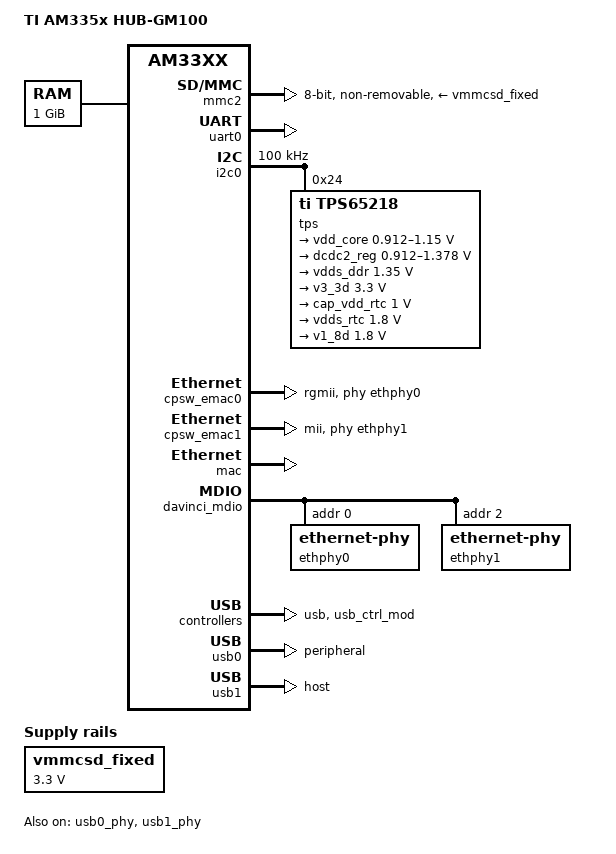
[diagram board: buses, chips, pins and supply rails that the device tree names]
// SPDX-License-Identifier: GPL-2.0-only
/*
 * Copyright 2018-2021 in.hub GmbH
 */

/dts-v1/;

#include "am33xx.dtsi"

/ {
	model = "TI AM335x HUB-GM100";
	compatible = "ti,am335x-duoSol-I-xCom1", "ti,am335x-gm100", "ti,am33xx";

	cpus {
		cpu@0 {
			cpu0-supply = <&dcdc2_reg>;
		};
	};

	memory {
		device_type = "memory";
		reg = <0x80000000 0x40000000>;
	};

	chosen {
		stdout-path = &uart0;
		tick-timer = &timer2;
	};

	vmmcsd_fixed: fixedregulator@0 {
		compatible = "regulator-fixed";
		regulator-name = "vmmcsd_fixed";
		regulator-min-microvolt = <3300000>;
		regulator-max-microvolt = <3300000>;
		regulator-boot-on;
	};

};

&mmc2 {
	u-boot,dm-pre-reloc;
	vmmc-supply = <&vmmcsd_fixed>;
	pinctrl-names = "default";
	pinctrl-0 = <&emmc_pins>;
	bus-width = <8>;
	non-removable;
	status = "okay";
};

&am33xx_pinmux {
	u-boot,dm-pre-reloc;
	pinctrl-names = "default";

	i2c0_pins: pinmux_i2c0_pins {
		pinctrl-single,pins = <
			0x188 (PIN_INPUT_PULLUP | MUX_MODE0)	/* i2c0_sda.i2c0_sda */
			0x18c (PIN_INPUT_PULLUP | MUX_MODE0)	/* i2c0_scl.i2c0_scl */
		>;
	};

	uart0_pins: pinmux_uart0_pins {
		pinctrl-single,pins = <
			0x170 (PIN_INPUT_PULLUP | MUX_MODE0)	/* uart0_rxd.uart0_rxd */
			0x174 (PIN_OUTPUT_PULLDOWN | MUX_MODE0)	/* uart0_txd.uart0_txd */
		>;
	};

	emmc_pins: pinmux_emmc_pins {
		pinctrl-single,pins = <
			0x80 (PIN_INPUT_PULLUP | MUX_MODE2) /* gpmc_csn1.mmc1_clk */
			0x84 (PIN_INPUT_PULLUP | MUX_MODE2) /* gpmc_csn2.mmc1_cmd */
			0x00 (PIN_INPUT_PULLUP | MUX_MODE1) /* gpmc_ad0.mmc1_dat0 */
			0x04 (PIN_INPUT_PULLUP | MUX_MODE1) /* gpmc_ad1.mmc1_dat1 */
			0x08 (PIN_INPUT_PULLUP | MUX_MODE1) /* gpmc_ad2.mmc1_dat2 */
			0x0c (PIN_INPUT_PULLUP | MUX_MODE1) /* gpmc_ad3.mmc1_dat3 */
			0x10 (PIN_INPUT_PULLUP | MUX_MODE1) /* gpmc_ad4.mmc1_dat4 */
			0x14 (PIN_INPUT_PULLUP | MUX_MODE1) /* gpmc_ad5.mmc1_dat5 */
			0x18 (PIN_INPUT_PULLUP | MUX_MODE1) /* gpmc_ad6.mmc1_dat6 */
			0x1c (PIN_INPUT_PULLUP | MUX_MODE1) /* gpmc_ad7.mmc1_dat7 */
		>;
	};

	davinci_mdio_default: pinmux_mdio_pins_default {
		pinctrl-single,pins = <
			/* MDIO */
			AM33XX_IOPAD(0x948, PIN_INPUT_PULLUP | SLEWCTRL_FAST | MUX_MODE0)	/* mdio_data.mdio_data */
			AM33XX_IOPAD(0x94c, PIN_OUTPUT_PULLUP | MUX_MODE0)			/* mdio_clk.mdio_clk */
		>;
	};

	rgmii1_gbe0_default: pinmux_rgmii1_gbe0_pins_default {
		pinctrl-single,pins = <0x114 0x2 0x118 0x2a 0x11c 0x2 0x120 0x2 0x124 0x2 0x128 0x2 0x12c 0x2 0x130 0x2a 0x134 0x2a 0x138 0x2a 0x13c 0x2a 0x140 0x2a>;
	};

	mymii3_default: mymii3_pins_default {
		pinctrl-single,pins = <0x78 0x29 0x70 0x29 0x74 0x29 0x40 0x9 0x44 0x29 0x58 0x29 0x5c 0x29 0x54 0x9 0x50 0x9 0x4c 0x9 0x48 0x9 0x6c 0x29 0x68 0x29 0x64 0x29 0x60 0x29>;
	};

};

&uart0 {
	u-boot,dm-pre-reloc;
	pinctrl-names = "default";
	pinctrl-0 = <&uart0_pins>;

	status = "okay";
};

&i2c0 {
	u-boot,dm-pre-reloc;
	pinctrl-names = "default";
	pinctrl-0 = <&i2c0_pins>;

	status = "okay";
	clock-frequency = <100000>;

	tps: tps@24 {
		reg = <0x24>;
		compatible = "ti,tps65218";
		interrupts = <7>;
		interrupt-controller;
		#interrupt-cells = <0x2>;

		regulator-dcdc1 {
			compatible = "ti,tps65218-dcdc1";
			regulator-name = "vdd_core";
			regulator-min-microvolt = <912000>;
			regulator-max-microvolt = <1150000>;
			regulator-boot-on;
			regulator-always-on;
		};

		dcdc2_reg: regulator-dcdc2 {
			compatible = "ti,tps65218-dcdc2";
			regulator-name = "vdd_mpu";
			regulator-min-microvolt = <912000>;
			regulator-max-microvolt = <1378000>;
			regulator-boot-on;
			regulator-always-on;
		};

		regulator-dcdc3 {
			compatible = "ti,tps65218-dcdc3";
			regulator-name = "vdds_ddr";
			regulator-min-microvolt = <1350000>;
			regulator-max-microvolt = <1350000>;
			regulator-boot-on;
			regulator-always-on;
		};

		regulator-dcdc4 {
			compatible = "ti,tps65218-dcdc4";
			regulator-name = "v3_3d";
			regulator-min-microvolt = <3300000>;
			regulator-max-microvolt = <3300000>;
			regulator-boot-on;
			regulator-always-on;
		};

		regulator-dcdc5 {
			compatible = "ti,tps65218-dcdc5";
			regulator-name = "cap_vdd_rtc";
			regulator-min-microvolt = <1000000>;
			regulator-max-microvolt = <1000000>;
			regulator-boot-on;
			regulator-always-on;
		};

		regulator-dcdc6 {
			compatible = "ti,tps65218-dcdc6";
			regulator-name = "vdds_rtc";
			regulator-min-microvolt = <1800000>;
			regulator-max-microvolt = <1800000>;
			regulator-boot-on;
			regulator-always-on;
		};

		regulator-ldo1 {
			compatible = "ti,tps65218-ldo1";
			regulator-name = "v1_8d";
			regulator-min-microvolt = <1800000>;
			regulator-max-microvolt = <1800000>;
			regulator-boot-on;
			regulator-always-on;
		};
	};

};

&cpsw_emac0 {
	phy-handle = <&ethphy0>;
	phy-mode = "rgmii";
	dual_emac_res_vlan = <1>;
};

&cpsw_emac1 {
	phy-handle = <&ethphy1>;
	phy-mode = "mii";
	dual_emac_res_vlan = <2>;
};

&mac {
	pinctrl-names = "default";
	pinctrl-0 = <&rgmii1_gbe0_default &mymii3_default>;
	rx_descs = <0x40>;
	slaves = <2>;
	status = "okay";
	dual_emac = <1>;
};

&davinci_mdio {
	pinctrl-names = "default";
	pinctrl-0 = <&davinci_mdio_default>;
	status = "okay";

	ethphy0: ethernet-phy@0 {
		reg = <0>;
	};

	ethphy1: ethernet-phy@2 {
		reg = <2>;
	};
};

&rtc {
	system-power-controller;
};

&usb {
	status = "okay";
};

&usb_ctrl_mod {
	status = "okay";
};

&usb0_phy {
	status = "okay";
};

&usb1_phy {
	status = "okay";
};

&usb0 {
	status = "okay";
	dr_mode = "peripheral";
};

&usb1 {
	status = "okay";
	dr_mode = "host";
};

&cppi41dma  {
	status = "okay";
};
